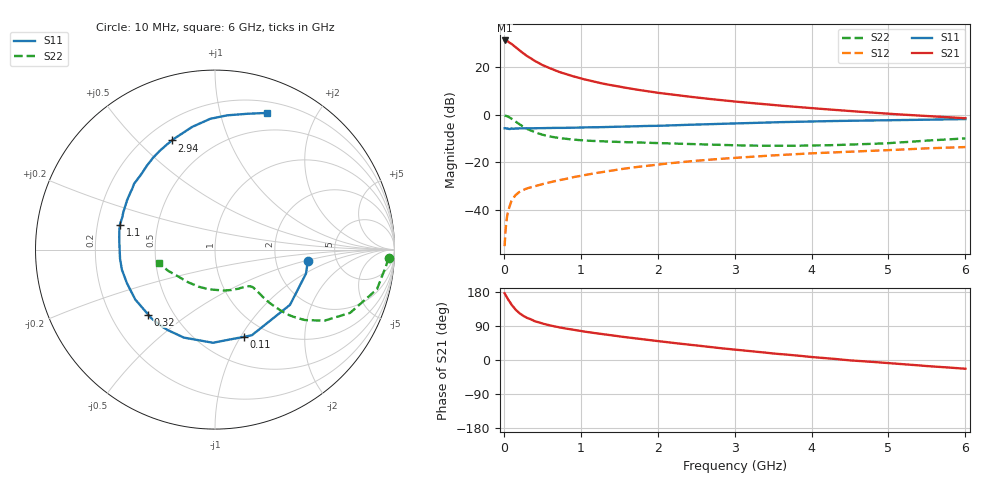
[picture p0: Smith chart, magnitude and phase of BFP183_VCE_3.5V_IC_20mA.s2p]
! Infineon Technologies  Discrete & RF Semiconductors
! BFP183
! VCE = 3.5 V,  IC =  20 mA
! Common Emitter S-Parameters:  Jan 2016
# GHz  S  MA  R  50
!  f  S11  S21  S12  S22
! GHz  MAG  ANG  MAG  ANG  MAG  ANG  MAG  ANG
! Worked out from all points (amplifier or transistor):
!   210 points, 10 MHz to 6 GHz, reference 50 ohm
!   highest |S21| = 31.4 dB at 10 MHz (marker M1)
!   |S21| within 3 dB of that: start of sweep to 160 MHz
!   unconditionally stable (mu >= 1): 801.7 MHz to 5.612 GHz
!   at 185 MHz: K = 0.38, MSG = 30.3 dB, |S12| = -33.0 dB
!   at 1.52 GHz: K = 1.14, MAG = 15.1 dB, |S12| = -22.9 dB
!   at 6 GHz: K = 0.94, MSG = 6.1 dB, |S12| = -13.6 dB
!   S11 on the Smith chart (normalised r, x): 10 MHz: 3.07, -0.55; 110 MHz: 0.79, -1.03; 320 MHz: 0.36, -0.36; 1.1 GHz: 0.30, +0.12; 2.94 GHz: 0.30, +0.64; 6 GHz: 0.31, +1.40
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0.01  0.5213 -7.2  37.02 176.1  0.0017 80.9  0.9685 -2.7
0.02  0.5242 -14.8  36.82 172.6  0.0033 86.6  0.9571 -5.5
0.05  0.5191 -36.4  35.55 161.4  0.0085 79.9  0.9293 -13.7
0.1  0.5195 -66.8  31.38 145.7  0.0153 65.6  0.8313 -25.1
0.11  0.5119 -71.6  30.41 143.5  0.0162 63.7  0.8096 -26.5
0.15  0.5192 -91.3  27.02 133.3  0.0201 58.1  0.7283 -32.9
0.2  0.5201 -109.5  23.2 123.9  0.0235 53.4  0.6379 -38.0
0.26  0.5207 -124.5  19.44 115.7  0.0264 50.6  0.5534 -41.4
0.32  0.5191 -135.7  16.7 109.9  0.0287 49.5  0.4919 -43.0
0.4  0.5241 -147.9  13.79 102.5  0.0313 48.9  0.4312 -44.3
0.5  0.5251 -159.2  11.25 96.2  0.0345 48.2  0.3815 -44.7
0.58  0.5286 -166.2  9.911 92.3  0.0371 49.8  0.3556 -44.6
0.7  0.5315 -174.5  8.212 86.9  0.0412 50.6  0.3269 -44.5
1.02  0.5436 168.6  5.744 75.8  0.0524 52.9  0.2902 -45.4
1.1  0.5476 165.3  5.344 73.3  0.0556 53.1  0.2844 -46.0
1.5  0.5619 150.7  3.926 62.3  0.0708 52.7  0.2681 -50.3
2.02  0.5877 134.2  2.893 49.5  0.0903 49.9  0.2536 -59.3
2.94  0.6537 111.5  1.955 28.7  0.1219 42.5  0.2295 -81.5
3.1  0.6645 108.2  1.847 25.6  0.127 41.1  0.2262 -86.1
4.1  0.7325 90.6  1.346 6.3  0.1568 32.3  0.2267 -117.5
5.1  0.7727 78.0  1.03 -9.7  0.1831 24.7  0.2584 -146.1
6  0.8144 69.2  0.849 -23.1  0.2092 16.4  0.3193 -166.3
